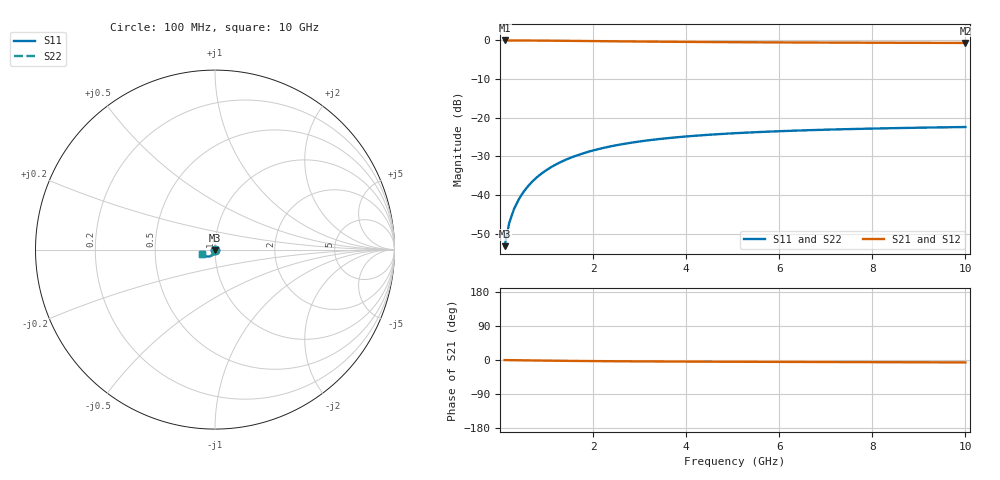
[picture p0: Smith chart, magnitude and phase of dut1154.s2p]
! Touchstone file exported from HFSS 2024.1.0
!  File:  C:/UserFiles/LocalFiles/RDL_TSV_Batchsim/temp_TSV1_1154_1780072167.aedt
!  Generated:  12:35:52 AM May 30, 2026
!  Design:  TSV1
!  Project:  temp_TSV1_1154_1780072167
!  Setup:  Setup1
!  Solution:  Sweep
! Variables:
!  dtsv = 13.92um
!  hbump = 3um
!  htsv = 98.6um
!  lrdl = 252.1521522um
!  p = 40
!  p1 = 48.53um
!  t = 500um
!  trdl = 3um
!  wrdl = 24.89489489um
# GHz S MA R 50.000000
! Terminal data exported
! Port[1] = TSV22_T1
! Port[2] = TSV22_T2
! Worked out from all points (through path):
!   100 points, 100 MHz to 10 GHz, reference 50 ohm
!   highest |S21| = 0.00 dB at 100 MHz (marker M1); lowest = -0.6 dB at 10 GHz (marker M2)
!   lowest |S11| = -53.2 dB at 100 MHz (marker M3), VSWR 1.00, Z = 50 - j0.218 ohm
!   |S11| at or under -10 dB: start of sweep to end of sweep
!   |S22| runs from -53.2 to -22.4 dB; largest |S21 - S12| = 4.3e-15
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0.1  0.002184 -89.1  0.9998 -0.2  0.9998 -0.2  0.002184 -89.1
! Gamma 0 0 0 0
! Port Impedance 50 0 50 0
0.2  0.004367 -91.9  0.9996 -0.4  0.9996 -0.4  0.004367 -91.9
0.3  0.006547 -94.0  0.9993 -0.5  0.9993 -0.5  0.006547 -94.0
0.4  0.008715 -95.8  0.9988 -0.7  0.9988 -0.7  0.008715 -95.8
0.5  0.01086 -97.6  0.9982 -0.9  0.9982 -0.9  0.01086 -97.6
0.6  0.01298 -99.4  0.9976 -1.0  0.9976 -1.0  0.01298 -99.4
0.7  0.01507 -101.1  0.9968 -1.2  0.9968 -1.2  0.01507 -101.1
0.8  0.01712 -102.8  0.9959 -1.3  0.9959 -1.3  0.01712 -102.8
0.9  0.01912 -104.4  0.995 -1.5  0.995 -1.5  0.01912 -104.4
1.1  0.02299 -107.6  0.9929 -1.8  0.9929 -1.8  0.02299 -107.6
1.4  0.02841 -112.0  0.9893 -2.2  0.9893 -2.2  0.02841 -112.0
1.6  0.03174 -114.8  0.9867 -2.4  0.9867 -2.4  0.03174 -114.8
1.8  0.03486 -117.5  0.9841 -2.6  0.9841 -2.6  0.03486 -117.5
2.1  0.03913 -121.2  0.98 -2.9  0.98 -2.9  0.03913 -121.2
2.5  0.04412 -125.6  0.9748 -3.3  0.9748 -3.3  0.04412 -125.6
2.9  0.04839 -129.5  0.9698 -3.6  0.9698 -3.6  0.04839 -129.5
3.4  0.05289 -133.8  0.9641 -3.9  0.9641 -3.9  0.05289 -133.8
4.2  0.05857 -139.6  0.9563 -4.3  0.9563 -4.3  0.05857 -139.6
5.1  0.06336 -144.7  0.9492 -4.6  0.9492 -4.6  0.06336 -144.7
6.7  0.06924 -151.6  0.94 -5.2  0.94 -5.2  0.06924 -151.6
8.4  0.07329 -157.0  0.9333 -5.8  0.9333 -5.8  0.07329 -157.0
10  0.07589 -161.0  0.9289 -6.3  0.9289 -6.3  0.07589 -161.0
